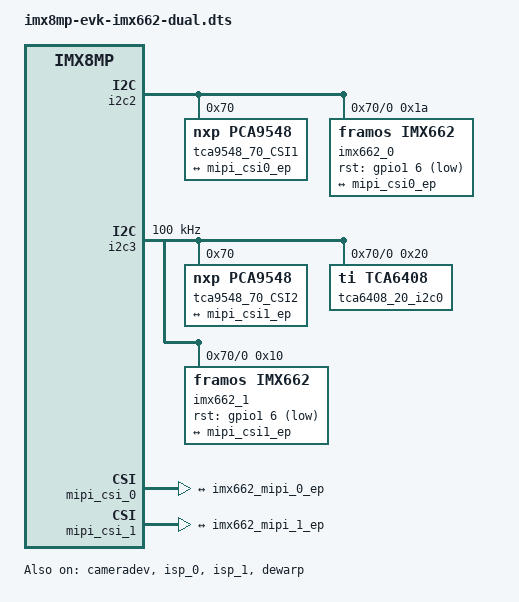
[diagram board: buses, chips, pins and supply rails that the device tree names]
// SPDX-License-Identifier: (GPL-2.0+ OR MIT)
/*
 * Copyright 2020 NXP
 *
 * This program is free software; you can redistribute it and/or
 * modify it under the terms of the GNU General Public License
 * as published by the Free Software Foundation; either version 2
 * of the License, or (at your option) any later version.
 *
 * This program is distributed in the hope that it will be useful,
 * but WITHOUT ANY WARRANTY; without even the implied warranty of
 * MERCHANTABILITY or FITNESS FOR A PARTICULAR PURPOSE.  See the
 * GNU General Public License for more details.
 */

/dts-v1/;

#include "imx8mp-evk.dts"

#define CAMERA_I2C_MUX_BUS(x) (0x1E + x)

/* TCA6408 Pxx bus-port define*/
#define SLAMODE0    0

/delete-node/ &flexcan2; //flexcan2 enable signal in collision with GPIO expander on Framos FPA

&i2c2 {
	/delete-node/ov5640_mipi@3c;

	tca9548_70_CSI1: tca9548@70 {
        compatible = "nxp,pca9548";
        reg = <0x70>;
        #address-cells = <1>;
        #size-cells = <0>;
        skip_mux_detect;
        force_bus_start = <CAMERA_I2C_MUX_BUS(0)>;

		i2c@0 {
            reg = <0>;
            i2c-mux,deselect-on-exit;
            #address-cells = <1>;
            #size-cells = <0>;
            status = "okay";

            imx662_0: imx662_mipi@1a {
				compatible = "framos,imx662";
				reg = <0x1a>;
				pinctrl-names = "default";
				pinctrl-0 = <&pinctrl_csi0_pwn>, <&pinctrl_csi0_rst>, <&pinctrl_csi_mclk>;
				clocks = <&clk IMX8MP_CLK_IPP_DO_CLKO2>;
				clock-names = "csi_mclk";
				csi_id = <0>;
				rst-gpios = <&gpio1 6 GPIO_ACTIVE_LOW>;
				status = "okay";

				port {
					imx662_mipi_0_ep: endpoint {
						remote-endpoint = <&mipi_csi0_ep>;
						data-lanes = <1 2 3 4>;
						clock-lanes = <0>;
						max-pixel-frequency = /bits/ 64 <266000000>;
					};
				};
			};
		};
	};
};

&i2c3 {
	clock-frequency = <100000>;
	pinctrl-names = "default";
	pinctrl-0 = <&pinctrl_i2c3>;
	status = "okay";

	/delete-node/gpio@20;
	/delete-node/ov5640_mipi@3c;

	tca9548_70_CSI2: tca9548@70 {
        compatible = "nxp,pca9548";
        reg = <0x70>;
        #address-cells = <1>;
        #size-cells = <0>;
        skip_mux_detect;
        force_bus_start = <CAMERA_I2C_MUX_BUS(0)>;

		i2c@0 {
            reg = <0>;
            i2c-mux,deselect-on-exit;
            #address-cells = <1>;
            #size-cells = <0>;
            status = "okay";

			tca6408_20_i2c0: tca6408@20 {
                compatible = "ti,tca6408";
                gpio-controller;
                #gpio-cells = <2>;
                reg = <0x20>;
                status = "okay";
                /*
                 * P2: SLAMODE0
                 */
                tca6408_20_i2c0_slamode0 {
                    gpio-hog;
                    output-high;
                    gpios = <SLAMODE0 0>;
                    label = "slamode0";
                    status = "okay";
                };
            };

            imx662_1: imx662_mipi@10 {
				compatible = "framos,imx662";
				reg = <0x10>;
				clocks = <&clk IMX8MP_CLK_IPP_DO_CLKO2>;
				clock-names = "csi_mclk";
				csi_id = <1>;
				rst-gpios = <&gpio1 6 GPIO_ACTIVE_LOW>;
				status = "okay";

				port {
					imx662_mipi_1_ep: endpoint {
						remote-endpoint = <&mipi_csi1_ep>;
						data-lanes = <1 2 3 4>;
						clock-lanes = <0>;
						max-pixel-frequency = /bits/ 64 <266000000>;
					};
				};
			};
		};
	};
};

&cameradev {
	status = "okay";
};

&isi_0 {
	status = "disabled";
};

&isi_1 {
	status = "disabled";
};

&isp_0 {
	status = "okay";
};

&isp_1 {
	status = "okay";
};

&dewarp {
	status = "okay";
};

&mipi_csi_0 {
	status = "okay";
	clock-frequency = <266000000>;
	assigned-clock-parents = <&clk IMX8MP_SYS_PLL1_266M>;
	assigned-clock-rates = <266000000>;

	port {
		mipi_csi0_ep: endpoint {
			remote-endpoint = <&imx662_mipi_0_ep>;
			data-lanes = <4>;
			csis-hs-settle = <13>;
			csis-clk-settle = <2>;
			csis-wclk;
		};
	};
};

&mipi_csi_1 {
	#address-cells = <1>;
	#size-cells = <0>;
	status = "okay";

	port@1 {
		reg = <1>;
		mipi_csi1_ep: endpoint {
			remote-endpoint = <&imx662_mipi_1_ep>;
			data-lanes = <4>;
			csis-hs-settle = <13>;
			csis-clk-settle = <2>;
			csis-wclk;
		};
	};
};
